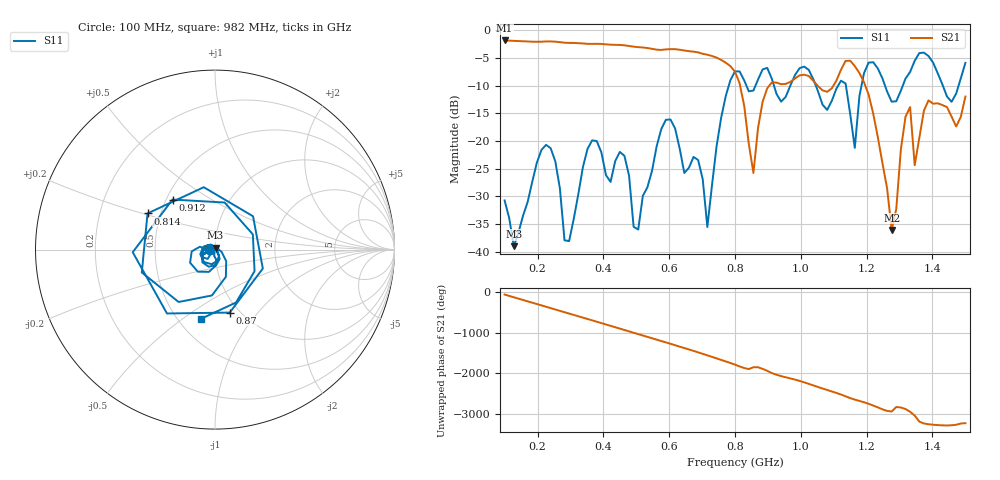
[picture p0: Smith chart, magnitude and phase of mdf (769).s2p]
! NanoVNA-App
! Date: 2025-09-25 15:44:24
! Start: 100MHz Stop: 1,5GHz Points: 101
! S-Parameter data: F S11 S21 S12 S22
# Hz S RI R 50
!  Frequency  S11_Real  S11_Imag  S21_Real  S21_Imag  S12_Real  S12_Imag  S22_Real  S22_Imag
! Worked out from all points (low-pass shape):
!   101 points, 100 MHz to 1.5 GHz, reference 50 ohm
!   highest |S21| = -1.80 dB at 100 MHz (marker M1); lowest = -36.1 dB at 1.276 GHz (marker M2)
!   |S21| within 3 dB of the highest: start of sweep to 739.3 MHz
!   lowest |S11| = -39.0 dB at 128 MHz (marker M3), VSWR 1.02, Z = 50.3 + j1.08 ohm
!   |S11| at or under -10 dB: start of sweep to 781 MHz; 1.046 GHz to 1.113 GHz (67.43 MHz wide, 6.25 % of centre); 1.256 GHz to 1.31 GHz (53.68 MHz wide, 4.18 % of centre) (the widest 3 of 7)
!   S12 and S22 are empty: the file has one direction only
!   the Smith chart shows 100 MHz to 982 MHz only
!   S11 on the Smith chart (normalised r, x): 100 MHz: 0.94, -0.01; 814 MHz: 0.42, +0.21; 870 MHz: 0.90, -0.73; 912 MHz: 0.54, +0.35; 982 MHz: 0.64, -0.59
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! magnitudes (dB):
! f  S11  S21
! 100 MHz  -30.7  -1.8
! 128 MHz  -39.0  -1.9
! 212 MHz  -21.6  -2.0
! 282 MHz  -37.9  -2.2
! 338 MHz  -24.7  -2.3
! 464 MHz  -22.7  -2.7
! 506 MHz  -36.0  -3.0
! 576 MHz  -17.8  -3.5
! 716 MHz  -35.5  -4.4
! 800 MHz  -7.4  -7.5
! 814 MHz  -7.4  -9.6
! 856 MHz  -10.9  -25.8
! 870 MHz  -8.9  -17.6
! 912 MHz  -8.7  -9.4
! 982 MHz  -8.1  -8.7
! 1.038 GHz  -8.8  -9.1
! 1.164 GHz  -21.2  -6.4
! 1.178 GHz  -11.9  -7.7
! 1.276 GHz  -12.9  -36.1
! 1.332 GHz  -7.5  -13.8
! 1.346 GHz  -5.5  -24.4
! 1.5 GHz  -5.9  -11.9
